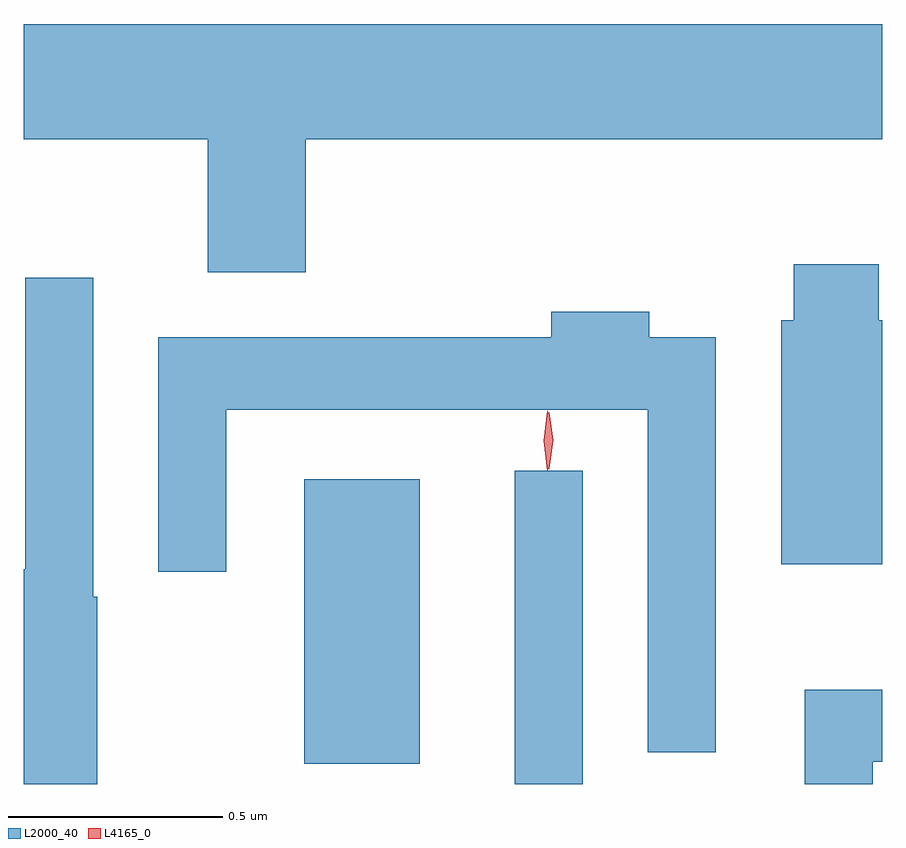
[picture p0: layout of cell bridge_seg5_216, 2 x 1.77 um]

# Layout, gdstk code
import gdstk
lib = gdstk.Library(unit=1e-6, precision=1e-09)
def R(c, l, rs):  # rectangles x0, y0, x1, y1
    for r in rs: c.add(gdstk.rectangle(r[:2], r[2:], *l))
def P(c, l, *ps):  # polygons
    for p in ps: c.add(gdstk.Polygon(p, *l))
L2000_40 = (2000, 40)
L4165_0 = (4165, 0)

bridge_seg5_216 = lib.new_cell('bridge_seg5_216')
R(bridge_seg5_216, L2000_40, [(1279.876,1417.554,1280.034,1418.283), (1279.386,1417.601,1279.654,1418.264)])
P(bridge_seg5_216, L2000_40, [(1279.389,1419.056),(1280.732,1419.056),(1280.732,1419.324),(1278.732,1419.324),(1278.732,1419.056),(1279.161,1419.056),(1279.161,1418.746),(1279.389,1418.746)],
  [(1280.732,1418.634),(1280.724,1418.634),(1280.724,1418.764),(1280.526,1418.764),(1280.526,1418.634),(1280.496,1418.634),(1280.496,1418.066),(1280.732,1418.066)],
  [(1278.904,1417.99),(1278.894,1417.99),(1278.894,1418.733),(1278.736,1418.733),(1278.736,1418.054),(1278.732,1418.054),(1278.732,1417.554),(1278.904,1417.554)],
  [(1280.344,1418.594),(1280.189,1418.594),(1280.189,1418.654),(1279.961,1418.654),(1279.961,1418.594),(1279.046,1418.594),(1279.046,1418.048),(1279.204,1418.048),(1279.204,1418.426),(1280.186,1418.426),(1280.186,1417.628),(1280.344,1417.628)],
  [(1280.709,1417.606),(1280.732,1417.606),(1280.732,1417.774),(1280.551,1417.774),(1280.551,1417.554),(1280.709,1417.554)])
P(bridge_seg5_216, L4165_0, [(1279.953,1418.283),(1279.952,1418.284),(1279.943,1418.353),(1279.952,1418.422),(1279.953,1418.423),(1279.953,1418.422),(1279.963,1418.353),(1279.953,1418.284)],
  [(1279.956,1418.287),(1279.955,1418.288),(1279.946,1418.354),(1279.955,1418.42),(1279.956,1418.42),(1279.956,1418.42),(1279.965,1418.354),(1279.956,1418.288)])

lib.write_gds('bridge_seg5_216.gds')
